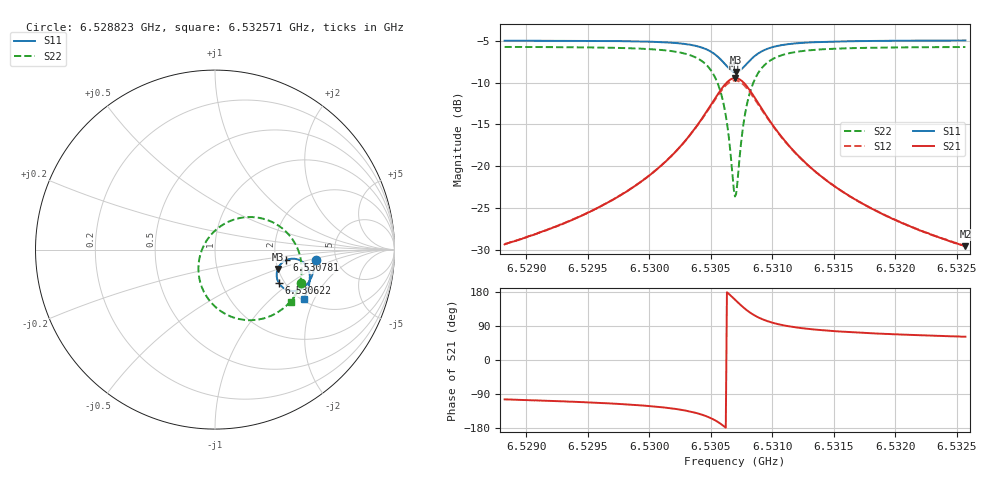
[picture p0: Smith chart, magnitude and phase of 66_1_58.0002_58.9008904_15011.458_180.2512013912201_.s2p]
#  HZ  S  RI  R  50.00
! Rohde & Schwarz Vector Network Analyzer
! Rohde-Schwarz,ZNB20-2Port,1311601062101988,3.16
! Created: UTC 3/21/2024, 12:53:11 AM
! freq[Hz]  re:S11  im:S11  re:S21  im:S21  re:S12  im:S12  re:S22  im:S22
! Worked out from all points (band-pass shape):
!   401 points, 6.528823 GHz to 6.532571 GHz, reference 50 ohm
!   highest |S21| = -9.45 dB at 6.530697 GHz (marker M1); lowest = -29.5 dB at 6.532571 GHz (marker M2)
!   |S21| within 3 dB of the highest: 6.53051 GHz to 6.530886 GHz (375.6 kHz wide, 0.00575 % of centre)
!   lowest |S11| = -8.7 dB at 6.530706 GHz (marker M3), VSWR 2.15, Z = 99.6 - j24.9 ohm
!   |S11| at or under -10 dB: nowhere
!   |S22| runs from -23.6 to -5.7 dB; largest |S21 - S12| = 0.014
!   S11 on the Smith chart (normalised r, x): 6.528823 GHz: 3.48, -0.59; 6.530622 GHz: 1.87, -0.84; 6.530781 GHz: 2.29, -0.32; 6.532571 GHz: 2.05, -1.66
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6.5288227e9  0.5607 -0.0577  -0.00824 -0.0331  -0.00892 -0.033  0.4814 -0.1884
6.5294505e9  0.5513 -0.1118  -0.0183 -0.0473  -0.0195 -0.047  0.4489 -0.2503
6.5297972e9  0.5405 -0.146  -0.0312 -0.0619  -0.0331 -0.0612  0.415 -0.2947
6.5300783e9  0.5236 -0.1789  -0.0549 -0.0817  -0.0572 -0.0802  0.3618 -0.3413
6.5303032e9  0.4939 -0.2109  -0.1011 -0.1043  -0.1043 -0.1007  0.2684 -0.3842
6.5304625e9  0.445 -0.2302  -0.179 -0.1107  -0.1815 -0.1028  0.1255 -0.3849
6.5305562e9  0.3945 -0.2215  -0.2577 -0.0776  -0.2562 -0.0661  -0.00452 -0.3129
6.5306218e9  0.3569 -0.1874  -0.3123 -0.00744  -0.3044 0.00376  -0.0818 -0.1841
6.5306499e9  0.3466 -0.1637  -0.3243 0.0371  -0.3139 0.0465  -0.0925 -0.1079
6.530678e9  0.3436 -0.1362  -0.3237 0.0867  -0.3112 0.093  -0.0815 -0.0267
6.5306968e9  0.3465 -0.1174  -0.315 0.1198  -0.302 0.1237  -0.0609 0.0255
6.5307061e9  0.3494 -0.1082  -0.3082 0.1354  -0.2953 0.1383  -0.0467 0.0502
6.5307155e9  0.3533 -0.0996  -0.3 0.1505  -0.2872 0.1521  -0.0303 0.0729
6.530753e9  0.3761 -0.0709  -0.2555 0.1986  -0.2445 0.1967  0.0518 0.1434
6.5307811e9  0.3979 -0.0579  -0.2158 0.2204  -0.2071 0.2167  0.1211 0.1718
6.5308467e9  0.4469 -0.0516  -0.1298 0.2305  -0.1254 0.2263  0.2664 0.1724
6.5309404e9  0.4919 -0.0719  -0.053 0.1995  -0.0511 0.1973  0.3917 0.1037
6.5310809e9  0.5196 -0.1092  -0.00563 0.1483  -0.00445 0.1473  0.4626 -0.000908
6.5313246e9  0.5287 -0.1558  0.0149 0.0955  0.0161 0.095  0.4829 -0.1109
6.5316151e9  0.5245 -0.1932  0.0186 0.0647  0.0197 0.0644  0.4743 -0.1816
6.5319524e9  0.5151 -0.2264  0.0182 0.0461  0.0189 0.0459  0.4575 -0.2323
6.5325708e9  0.4934 -0.2758  0.0159 0.0293  0.0165 0.029  0.4254 -0.293
